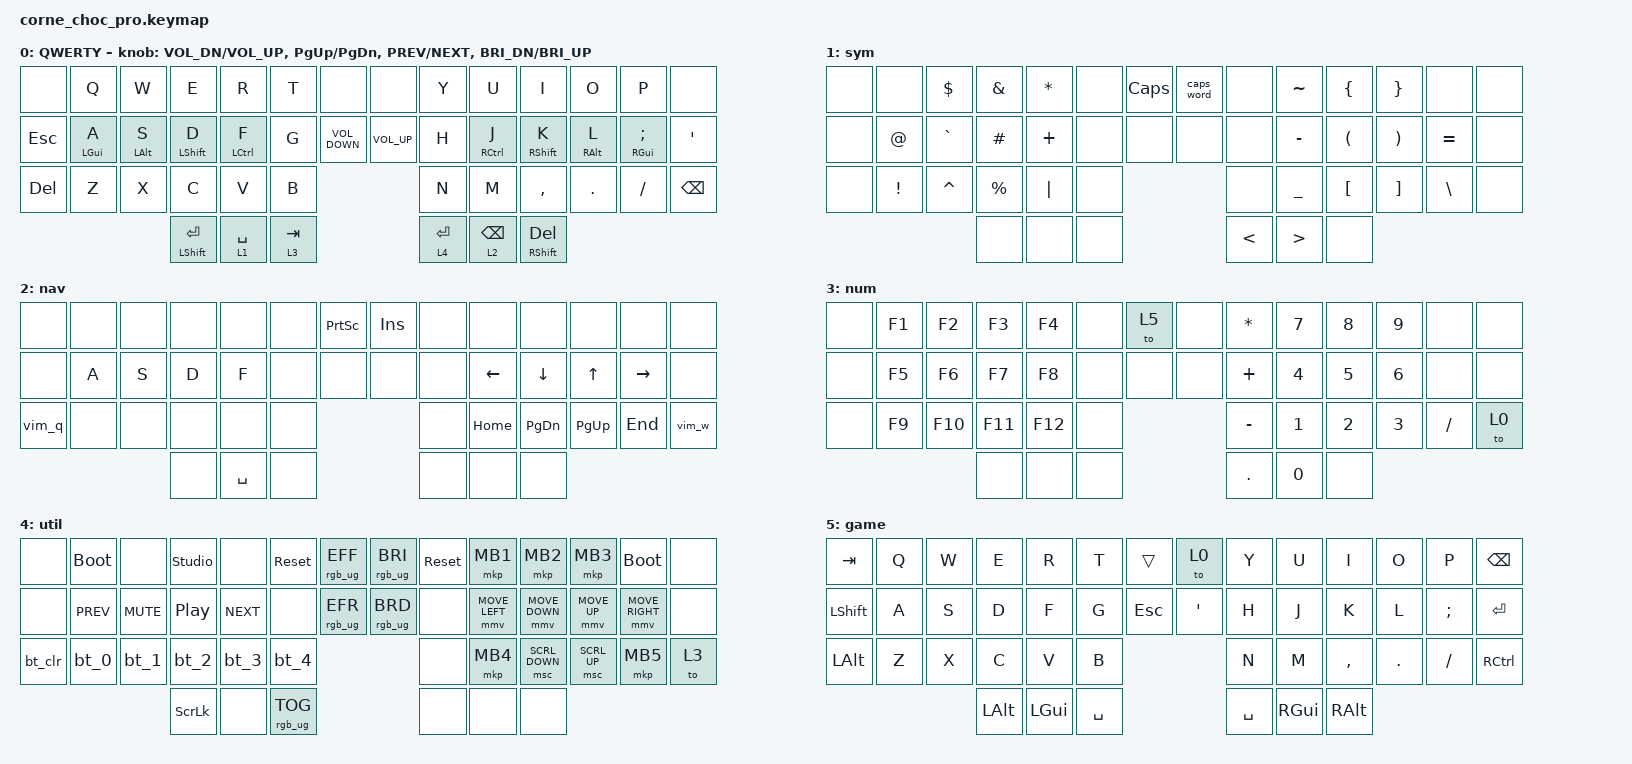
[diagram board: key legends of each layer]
/*
 * Copyright (c) 2020 The ZMK Contributors
 *
 * SPDX-License-Identifier: MIT
 */

#include <behaviors.dtsi>
#include <dt-bindings/zmk/bt.h>
#include <dt-bindings/zmk/keys.h>
#include <dt-bindings/zmk/pointing.h>
#include <dt-bindings/zmk/rgb.h>

/ {
    chosen { zmk,physical-layout = &default_layout; };
};

/ {
    macros {
        vim_w: vim_w {
            compatible = "zmk,behavior-macro";
            #binding-cells = <0>;
            bindings = <&kp COLON &kp W &kp RET>;
            label = "VIM_W";
        };

        vim_q: vim_q {
            compatible = "zmk,behavior-macro";
            #binding-cells = <0>;
            bindings = <&kp COLON &kp Q &kp RET>;
            label = "VIM_Q";
        };

        bt_0: new_macro {
            compatible = "zmk,behavior-macro";
            #binding-cells = <0>;
            bindings = <&rgb_ug RGB_ON &bt BT_SEL 0 &rgb_ug RGB_COLOR_HSB(112,100,50)>;
            label = "NEW_MACRO";
        };

        bt_1: bt_1 {
            compatible = "zmk,behavior-macro";
            #binding-cells = <0>;
            bindings = <&rgb_ug RGB_ON &bt BT_SEL 1 &rgb_ug RGB_COLOR_HSB(193,100,50)>;
            label = "BT_1";
        };

        bt_2: bg_2 {
            compatible = "zmk,behavior-macro";
            #binding-cells = <0>;
            bindings = <&rgb_ug RGB_ON &bt BT_SEL 2 &rgb_ug RGB_COLOR_HSB(50,100,50)>;
            label = "BG_2";
        };

        bt_3: bg_3 {
            compatible = "zmk,behavior-macro";
            #binding-cells = <0>;
            bindings = <&rgb_ug RGB_ON &bt BT_SEL 3 &rgb_ug RGB_COLOR_HSB(0,100,50)>;
            label = "BG_3";
        };

        bt_4: bg_4 {
            compatible = "zmk,behavior-macro";
            #binding-cells = <0>;
            bindings = <&rgb_ug RGB_ON &bt BT_SEL 4 &rgb_ug RGB_COLOR_HSB(275,100,50)>;
            label = "BG_4";
        };

        bt_clr: bt_clr {
            compatible = "zmk,behavior-macro";
            #binding-cells = <0>;
            bindings = <&rgb_ug RGB_OFF &rgb_ug RGB_ON &bt BT_CLR &rgb_ug RGB_COLOR_HSB(275,0,100)>;
            label = "BT_CLR";
        };
    };

    behaviors {
        hml: hml {
            compatible = "zmk,behavior-hold-tap";
            label = "HML";
            bindings = <&kp>, <&kp>;

            #binding-cells = <2>;
            tapping-term-ms = <280>;
            quick-tap-ms = <175>;
            require-prior-idle-ms = <150>;
            flavor = "balanced";
            hold-trigger-key-positions = <40 41 42 7 21 22 23 24 25 26 27 34 35 36 37 38 39 43 44 45 7 8 9 10 11 12 13 22 23 24 25 26 27>;
            hold-trigger-on-release;
        };

        hmr: hmr {
            compatible = "zmk,behavior-hold-tap";
            label = "HMR";
            bindings = <&kp>, <&kp>;

            #binding-cells = <2>;
            tapping-term-ms = <280>;
            quick-tap-ms = <175>;
            require-prior-idle-ms = <150>;
            flavor = "balanced";
            hold-trigger-key-positions = <43 44 45 14 15 16 17 18 19 28 29 30 31 32 33 40 41 42 0 1 5 6 14 15 16 17 18 19 20 28 29 30 31 32 33 40 41 42 2 3 4>;
            hold-trigger-on-release;
        };
    };

    combos {
        compatible = "zmk,combos";

        tg_game {
            bindings = <&caps_word>;
            key-positions = <14 27>;
        };
    };

    keymap {
        compatible = "zmk,keymap";

        base {
            display-name = "QWERTY";

            // --------------------------------------------------------------------------------
            // |  TAB |  Q  |  W  |  E  |  R  |  T  |  MUTE |  PP   |  Y  |  U   |  I  |  O  |  P  | BSPC |
            // | CTRL |  A  |  S  |  D  |  F  |  G  |  LALT |  RALT |  H  |  J   |  K  |  L  |  ;  |  '   |
            // | SHFT |  Z  |  X  |  C  |  V  |  B  |               |  N  |  M   |  ,  |  .  |  /  | ESC  |
            //                    | GUI | LWR | SPC |               | ENT | RSE  | ALT |

            bindings = <
&none       &kp Q        &kp W            &kp E                 &kp R                &kp T      &none              &none            &kp Y      &kp U                 &kp I                   &kp O             &kp P           &none
&kp ESCAPE  &hml LGUI A  &hml LEFT_ALT S  &hml LEFT_SHIFT D     &hml LEFT_CONTROL F  &kp G      &kp C_VOLUME_DOWN  &kp C_VOLUME_UP  &kp H      &hmr RIGHT_CONTROL J  &hmr RIGHT_SHIFT K      &hmr RIGHT_ALT L  &hmr RGUI SEMI  &kp SQT
&kp DEL     &kp Z        &kp X            &kp C                 &kp V                &kp B                                          &kp N      &kp M                 &kp COMMA               &kp DOT           &kp FSLH        &kp BACKSPACE
                                          &mt LEFT_SHIFT ENTER  &lt 1 SPACE          &lt 3 TAB                                      &lt 4 RET  &lt 2 BACKSPACE       &mt RIGHT_SHIFT DELETE
            >;

            sensor-bindings = <&inc_dec_kp C_VOL_DN C_VOL_UP &inc_dec_kp PG_UP PG_DN &inc_dec_kp C_PREV C_NEXT &inc_dec_kp C_BRI_DN C_BRI_UP>;
        };

        sym {
            bindings = <
&none  &none        &kp DOLLAR  &kp AMPERSAND  &kp ASTRK  &none  &kp CAPSLOCK  &caps_word  &none          &kp TILDE         &kp LEFT_BRACE        &kp RIGHT_BRACE        &none      &none
&none  &kp AT_SIGN  &kp GRAVE   &kp HASH       &kp PLUS   &none  &none         &none       &none          &kp MINUS         &kp LEFT_PARENTHESIS  &kp RIGHT_PARENTHESIS  &kp EQUAL  &none
&none  &kp EXCL     &kp CARET   &kp PERCENT    &kp PIPE   &none                            &none          &kp UNDERSCORE    &kp LBKT              &kp RBKT               &kp BSLH   &none
                                &none          &none      &none                            &kp LESS_THAN  &kp GREATER_THAN  &none
            >;
        };

        nav {
            bindings = <
&none   &none  &none  &none  &none      &none  &kp PRINTSCREEN  &kp INS  &none  &none           &none           &none         &none            &none
&none   &kp A  &kp S  &kp D  &kp F      &none  &none            &none    &none  &kp LEFT_ARROW  &kp DOWN_ARROW  &kp UP_ARROW  &kp RIGHT_ARROW  &none
&vim_q  &none  &none  &none  &none      &none                            &none  &kp HOME        &kp PAGE_DOWN   &kp PAGE_UP   &kp END          &vim_w
                      &none  &kp SPACE  &none                            &none  &none           &none
            >;
        };

        num {
            bindings = <
&none  &kp F1  &kp F2   &kp F3   &kp F4   &none  &to 5  &none  &kp ASTRK  &kp N7  &kp N8  &kp N9  &none      &none
&none  &kp F5  &kp F6   &kp F7   &kp F8   &none  &none  &none  &kp PLUS   &kp N4  &kp N5  &kp N6  &none      &none
&none  &kp F9  &kp F10  &kp F11  &kp F12  &none                &kp MINUS  &kp N1  &kp N2  &kp N3  &kp SLASH  &to 0
                        &none    &none    &none                &kp DOT    &kp N0  &none
            >;
        };

        util {
            bindings = <
&none    &bootloader  &none       &studio_unlock  &none       &sys_reset       &rgb_ug RGB_EFF  &rgb_ug RGB_BRI  &sys_reset  &mkp MB1        &mkp MB2        &mkp MB3      &bootloader      &none
&none    &kp C_PREV   &kp C_MUTE  &kp C_PP        &kp C_NEXT  &none            &rgb_ug RGB_EFR  &rgb_ug RGB_BRD  &none       &mmv MOVE_LEFT  &mmv MOVE_DOWN  &mmv MOVE_UP  &mmv MOVE_RIGHT  &none
&bt_clr  &bt_0        &bt_1       &bt_2           &bt_3       &bt_4                                              &none       &mkp MB4        &msc SCRL_DOWN  &msc SCRL_UP  &mkp MB5         &to 3
                                  &kp SCROLLLOCK  &none       &rgb_ug RGB_TOG                                    &none       &none           &none
            >;
        };

        game {
            bindings = <
&kp TAB    &kp Q  &kp W  &kp E     &kp R     &kp T      &trans   &to 0     &kp Y      &kp U     &kp I      &kp O    &kp P     &kp BSPC
&kp LSHFT  &kp A  &kp S  &kp D     &kp F     &kp G      &kp ESC  &kp APOS  &kp H      &kp J     &kp K      &kp L    &kp SEMI  &kp ENTER
&kp LALT   &kp Z  &kp X  &kp C     &kp V     &kp B                         &kp N      &kp M     &kp COMMA  &kp DOT  &kp FSLH  &kp RCTRL
                         &kp LALT  &kp LGUI  &kp SPACE                     &kp SPACE  &kp RGUI  &kp RALT
            >;
        };
    };
};
